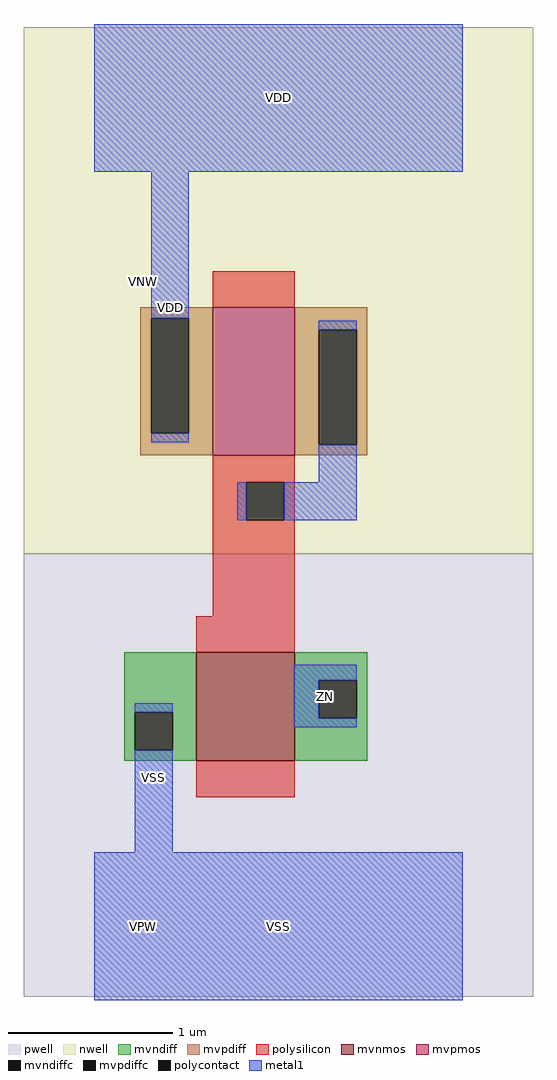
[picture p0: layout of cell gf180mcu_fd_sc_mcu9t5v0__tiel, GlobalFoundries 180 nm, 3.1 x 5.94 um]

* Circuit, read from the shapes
.subckt gf180mcu_fd_sc_mcu9t5v0__tiel ZN VDD VNW VPW VSS
XM1 ZN n1 VSS VPW nfet_06v0 w=0.66u l=0.6u
XM2 n1 n1 VDD VNW pfet_06v0 w=0.9u l=0.5u
.ends

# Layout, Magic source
magic
tech gf180mcuD
magscale 1 10
<< nwell >>
rect -86 453 534 1094
<< pwell >>
rect -86 -86 534 453
<< mvnmos >>
rect 124 201 244 333
<< mvpmos >>
rect 144 573 244 753
<< mvndiff >>
rect 36 260 124 333
rect 36 214 49 260
rect 95 214 124 260
rect 36 201 124 214
rect 244 299 332 333
rect 244 253 273 299
rect 319 253 332 299
rect 244 201 332 253
<< mvpdiff >>
rect 56 740 144 753
rect 56 600 69 740
rect 115 600 144 740
rect 56 573 144 600
rect 244 726 332 753
rect 244 586 273 726
rect 319 586 332 726
rect 244 573 332 586
<< mvndiffc >>
rect 49 214 95 260
rect 273 253 319 299
<< mvpdiffc >>
rect 69 600 115 740
rect 273 586 319 726
<< polysilicon >>
rect 144 753 244 797
rect 144 540 244 573
rect 144 494 185 540
rect 231 494 244 540
rect 144 377 244 494
rect 124 333 244 377
rect 124 157 244 201
<< polycontact >>
rect 185 494 231 540
<< metal1 >>
rect 0 918 448 1098
rect 69 740 115 918
rect 69 589 115 600
rect 273 726 319 737
rect 273 540 319 586
rect 174 494 185 540
rect 231 494 319 540
rect 243 299 319 318
rect 49 260 95 271
rect 243 253 273 299
rect 243 242 319 253
rect 49 90 95 214
rect 0 -90 448 90
<< labels >>
flabel metal1 s 0 918 448 1098 0 FreeSans 200 0 0 0 VDD
port 2 nsew power bidirectional abutment
flabel metal1 s 49 90 95 271 0 FreeSans 200 0 0 0 VSS
port 5 nsew ground bidirectional abutment
flabel metal1 s 243 242 319 318 0 FreeSans 200 0 0 0 ZN
port 1 nsew default output
flabel nwell s 10 734 110 834 0 FreeSans 400 0 0 0 VNW
port 3 nsew power bidirectional
flabel pwell s 10 -50 110 50 0 FreeSans 400 0 0 0 VPW
port 4 nsew ground bidirectional
rlabel metal1 s 69 589 115 918 1 VDD
port 2 nsew power bidirectional abutment
rlabel metal1 s 0 -90 448 90 1 VSS
port 5 nsew ground bidirectional abutment
<< properties >>
string FIXED_BBOX 0 0 448 1008
string GDS_END 445456
string GDS_FILE $PDKPATH/libs.ref/gf180mcu_fd_sc_mcu9t5v0/gds/gf180mcu_fd_sc_mcu9t5v0.gds
string GDS_START 443368
string LEFclass core TIELOW
string LEFsite GF018hv5v_green_sc9
string LEFsymmetry X Y
string MASKHINTS_DUALGATE -56 877 504 1064 -56 801 64 877 324 801 504 877 -56 525 8 801 380 525 504 801 -56 381 44 525 324 381 504 525 -56 153 -12 381 380 153 504 381 -56 77 44 153 324 77 504 153 -56 -56 504 77
string MASKHINTS_NPLUS -40 379 488 453 -40 365 78 379 290 365 488 379 -40 169 4 365 364 169 488 365 -40 155 78 169 290 155 488 169 -40 -40 488 155
string MASKHINTS_PPLUS -40 799 488 1048 -40 785 98 799 290 785 488 799 -40 541 24 785 364 541 488 785 -40 527 98 541 290 527 488 541 -40 453 488 527
<< end >>
